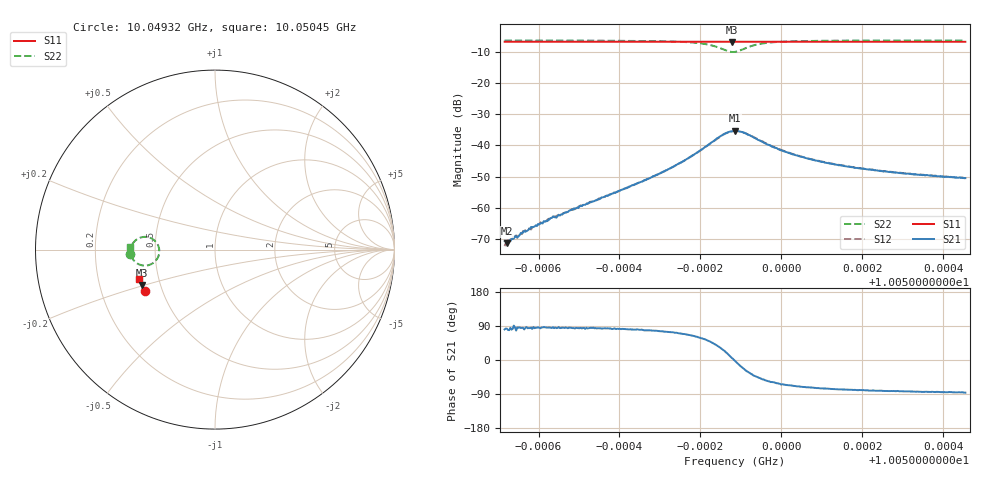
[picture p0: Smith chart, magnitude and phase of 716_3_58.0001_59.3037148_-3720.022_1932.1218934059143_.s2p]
#  HZ  S  RI  R  50.00
! Rohde & Schwarz Vector Network Analyzer
! Rohde-Schwarz,ZNB20-2Port,1311601062101988,3.16
! Created: UTC 3/21/2024, 1:22:23 AM
! freq[Hz]  re:S11  im:S11  re:S21  im:S21  re:S12  im:S12  re:S22  im:S22
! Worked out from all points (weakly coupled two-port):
!   401 points, 10.04932 GHz to 10.05045 GHz, reference 50 ohm
!   highest |S21| = -35.33 dB at 10.04989 GHz (marker M1); lowest = -71.3 dB at 10.04932 GHz (marker M2)
!   lowest |S11| = -6.9 dB at 10.04988 GHz (marker M3), VSWR 2.65, Z = 19.7 - j9.74 ohm
!   |S11| at or under -10 dB: nowhere
!   |S22| runs from -10.2 to -6.5 dB; largest |S21 - S12| = 0.0015
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1.0049316e10  -0.3918 -0.2298  4.75e-05 0.000295  3.87e-06 0.000246  -0.4738 -0.027
1.0049322e10  -0.3919 -0.2296  3.47e-05 0.000271  2.83e-05 0.000299  -0.4739 -0.0265
1.0049328e10  -0.3922 -0.2292  5.96e-05 0.000298  2.42e-05 0.000281  -0.4739 -0.0261
1.0049353e10  -0.3929 -0.2278  2.26e-05 0.000368  -2.13e-05 0.000384  -0.4739 -0.0235
1.0049367e10  -0.3935 -0.2269  4.07e-05 0.000416  1.08e-05 0.000444  -0.4738 -0.0222
1.0049433e10  -0.3954 -0.223  6.62e-05 0.000692  3.79e-05 0.000687  -0.4735 -0.0155
1.0049447e10  -0.3957 -0.2221  6.8e-05 0.000742  4.83e-05 0.000768  -0.4733 -0.0138
1.0049507e10  -0.3976 -0.2186  0.000126 0.00107  4.45e-05 0.00108  -0.4726 -0.00674
1.0049598e10  -0.4004 -0.2132  0.000256 0.00186  0.000156 0.00186  -0.4699 0.00636
1.0049698e10  -0.4032 -0.2072  0.000841 0.00342  0.000618 0.00346  -0.4622 0.0273
1.0049757e10  -0.4047 -0.2035  0.00204 0.00521  0.00166 0.00531  -0.4479 0.0466
1.0049806e10  -0.406 -0.2004  0.00489 0.00737  0.00442 0.0076  -0.4173 0.0665
1.0049846e10  -0.4062 -0.1977  0.011 0.00774  0.0103 0.00847  -0.3585 0.0645
1.0049877e10  -0.4064 -0.1963  0.0166 0.00178  0.0166 0.00328  -0.3111 0.0037
1.0049886e10  -0.4066 -0.1961  0.0171 -0.000786  0.0171 0.000685  -0.3111 -0.0212
1.0049917e10  -0.4077 -0.195  0.0127 -0.00765  0.0136 -0.00672  -0.3596 -0.0831
1.0049957e10  -0.4095 -0.1929  0.0069 -0.00867  0.00738 -0.00841  -0.4206 -0.0836
1.0050014e10  -0.4113 -0.1894  0.00315 -0.00713  0.00367 -0.00696  -0.4541 -0.0584
1.0050076e10  -0.4131 -0.1856  0.00176 -0.00566  0.00208 -0.00562  -0.4661 -0.0382
1.0050159e10  -0.4152 -0.1804  0.000971 -0.00454  0.00124 -0.00455  -0.4717 -0.0207
1.0050267e10  -0.4179 -0.1737  0.000521 -0.00372  0.000769 -0.00373  -0.4742 -0.00501
1.0050455e10  -0.4222 -0.1622  0.0002 -0.00301  0.000386 -0.00296  -0.4749 0.0149
